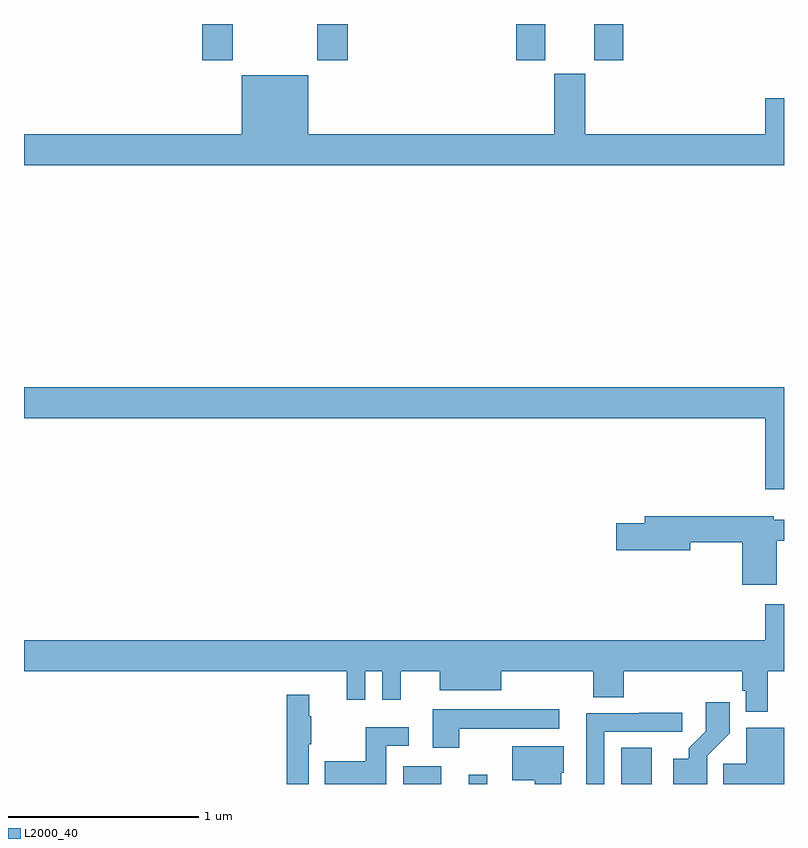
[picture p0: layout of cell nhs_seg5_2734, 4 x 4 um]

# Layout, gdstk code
import gdstk
lib = gdstk.Library(unit=1e-6, precision=1e-09)
def R(c, l, rs):  # rectangles x0, y0, x1, y1
    for r in rs: c.add(gdstk.rectangle(r[:2], r[2:], *l))
def P(c, l, *ps):  # polygons
    for p in ps: c.add(gdstk.Polygon(p, *l))
L2000_40 = (2000, 40)

nhs_seg5_2734 = lib.new_cell('nhs_seg5_2734')
R(nhs_seg5_2734, L2000_40, [(270.995,890.799,271.195,890.893), (271.34,890.799,271.438,890.848), (272.144,890.799,272.305,890.989), (269.939,894.609,270.099,894.799), (270.544,894.609,270.704,894.799), (271.592,894.609,271.744,894.799), (272,894.609,272.153,894.799)])
P(nhs_seg5_2734, L2000_40, [(273,894.409),(272.9,894.409),(272.9,894.22),(271.954,894.22),(271.954,894.537),(271.79,894.537),(271.79,894.22),(270.496,894.22),(270.496,894.529),(270.146,894.529),(270.146,894.22),(269,894.22),(269,894.056),(273,894.056)],
  [(273,892.888),(269,892.888),(269,892.724),(272.9,892.724),(272.9,892.35),(273,892.35)],
  [(272.963,892.08),(273,892.08),(273,892.189),(272.946,892.189),(272.946,892.208),(272.267,892.208),(272.267,892.172),(272.118,892.172),(272.118,892.03),(272.506,892.03),(272.506,892.072),(272.78,892.072),(272.78,891.849),(272.963,891.849)],
  [(272.915,891.392),(273,891.392),(273,891.745),(272.9,891.745),(272.9,891.556),(269,891.556),(269,891.392),(270.698,891.392),(270.698,891.243),(270.795,891.243),(270.795,891.392),(270.885,891.392),(270.885,891.243),(270.983,891.243),(270.983,891.392),(271.187,891.392),(271.187,891.293),(271.513,891.293),(271.513,891.392),(271.996,891.392),(271.996,891.256),(272.156,891.256),(272.156,891.392),(272.779,891.392),(272.779,891.291),(272.799,891.291),(272.799,891.179),(272.915,891.179)],
  [(270.498,891.007),(270.511,891.007),(270.511,891.155),(270.5,891.155),(270.5,891.268),(270.382,891.268),(270.382,890.799),(270.498,890.799)],
  [(272.595,890.947),(272.714,891.066),(272.714,891.229),(272.589,891.229),(272.589,891.077),(272.498,890.987),(272.498,890.932),(272.418,890.932),(272.418,890.799),(272.595,890.799)],
  [(271.291,891.089),(271.816,891.089),(271.816,891.193),(271.151,891.193),(271.151,890.991),(271.291,890.991)],
  [(272.055,891.075),(272.464,891.075),(272.464,891.174),(272.239,891.174),(272.239,891.171),(271.959,891.171),(271.959,890.799),(272.055,890.799)],
  [(270.906,891),(271.024,891),(271.024,891.097),(270.798,891.097),(270.798,890.919),(270.583,890.919),(270.583,890.799),(270.906,890.799)],
  [(273,891.094),(272.801,891.094),(272.801,890.906),(272.68,890.906),(272.68,890.799),(273,890.799)],
  [(271.828,890.859),(271.84,890.859),(271.84,890.998),(271.571,890.998),(271.571,890.819),(271.688,890.819),(271.688,890.799),(271.828,890.799)])

lib.write_gds('nhs_seg5_2734.gds')
